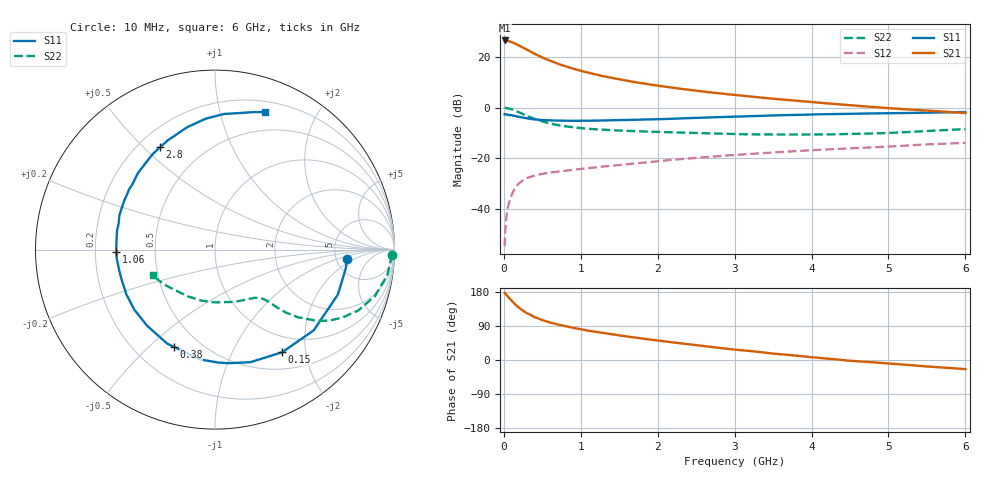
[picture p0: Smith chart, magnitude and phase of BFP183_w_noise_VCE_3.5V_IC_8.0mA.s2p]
! Infineon Technologies  Discrete & RF Semiconductors
! BFP183
! VCE = 3.5 V,  IC =  8.0 mA
! Common Emitter S-Parameters:  Jan 2016
# GHz  S  MA  R  50
!  f  S11  S21  S12  S22
! GHz  MAG  ANG  MAG  ANG  MAG  ANG  MAG  ANG
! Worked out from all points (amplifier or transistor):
!   210 points, 10 MHz to 6 GHz, reference 50 ohm
!   highest |S21| = 26.6 dB at 10 MHz (marker M1)
!   |S21| within 3 dB of that: start of sweep to 259.5 MHz
!   unconditionally stable (mu >= 1): 1.292 GHz to 5.63 GHz
!   at 185 MHz: K = 0.22, MSG = 27.6 dB, |S12| = -30.4 dB
!   at 1.52 GHz: K = 1.07, MAG = 15.3 dB, |S12| = -22.7 dB
!   at 6 GHz: K = 0.94, MSG = 5.9 dB, |S12| = -14.0 dB
!   lowest NFmin = 1.30 dB at 450 MHz
!   S11 on the Smith chart (normalised r, x): 10 MHz: 6.29, -1.42; 150 MHz: 0.74, -1.59; 380 MHz: 0.36, -0.60; 1.06 GHz: 0.29, -0.01; 2.8 GHz: 0.29, +0.56; 6 GHz: 0.30, +1.39
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0.01  0.7376 -4.0  21.35 177.6  0.0018 81.4  0.9886 -1.7
0.025  0.7328 -10.1  21.24 174.2  0.005 82.8  0.9789 -4.2
0.05  0.729 -20.1  21 167.8  0.0101 81.6  0.9707 -8.4
0.1  0.7105 -39.3  19.87 156.5  0.0185 71.6  0.9272 -16.3
0.15  0.6834 -56.8  18.44 146.1  0.0263 63.4  0.8674 -23.0
0.2  0.6575 -72.6  16.97 137.3  0.032 57.8  0.8034 -28.2
0.24  0.6373 -83.2  15.68 131.3  0.0355 53.7  0.7539 -31.5
0.3  0.6176 -97.8  14.04 123.6  0.0403 49.4  0.6834 -35.3
0.38  0.5882 -113.0  12.08 115.5  0.0441 44.9  0.6137 -38.3
0.4  0.5876 -116.9  11.63 113.0  0.0451 43.9  0.5966 -39.2
0.5  0.5685 -131.7  9.78 105.2  0.0487 40.6  0.5318 -41.5
0.6  0.5606 -143.3  8.493 98.9  0.0518 39.2  0.4839 -42.7
0.8  0.5472 -161.5  6.576 89.0  0.0559 38.3  0.4257 -44.0
1.02  0.5496 -176.4  5.248 80.3  0.0613 38.3  0.39 -45.4
1.06  0.5496 -178.7  5.073 78.9  0.0624 38.4  0.3851 -45.7
1.5  0.5658 160.3  3.626 64.9  0.073 39.3  0.3508 -49.9
2.02  0.5887 140.7  2.688 50.9  0.0874 39.6  0.3293 -57.5
2.8  0.6476 118.4  1.917 31.8  0.1094 37.3  0.3053 -73.2
3.1  0.6683 111.2  1.718 25.7  0.1179 36.0  0.2969 -80.4
4.1  0.7351 92.5  1.249 5.6  0.1458 30.3  0.2937 -107.9
5.1  0.7753 79.1  0.953 -10.7  0.1722 24.6  0.3192 -135.7
6  0.8166 69.9  0.781 -24.1  0.2002 17.0  0.3761 -157.5
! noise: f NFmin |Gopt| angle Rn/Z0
0.45  1.3  0.17  43  0.21
0.9  1.35  0.21  115  0.2
1.8  2.05  0.33  -177  0.14
